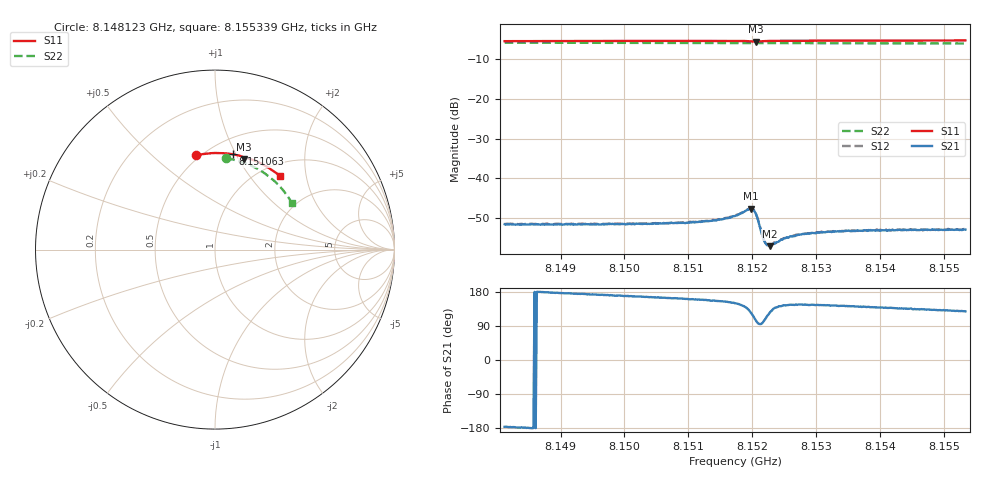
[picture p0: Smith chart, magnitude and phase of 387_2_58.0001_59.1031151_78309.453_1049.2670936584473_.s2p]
#  HZ  S  RI  R  50.00
! Rohde & Schwarz Vector Network Analyzer
! Rohde-Schwarz,ZNB20-2Port,1311601062101988,3.16
! Created: UTC 3/21/2024, 1:07:40 AM
! freq[Hz]  re:S11  im:S11  re:S21  im:S21  re:S12  im:S12  re:S22  im:S22
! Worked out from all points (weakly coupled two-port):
!   401 points, 8.148123 GHz to 8.155339 GHz, reference 50 ohm
!   highest |S21| = -47.65 dB at 8.151983 GHz (marker M1); lowest = -57.1 dB at 8.152272 GHz (marker M2)
!   lowest |S11| = -5.5 dB at 8.152056 GHz (marker M3), VSWR 3.25, Z = 37.7 + j52.7 ohm
!   |S11| at or under -10 dB: nowhere
!   |S22| runs from -6.0 to -5.8 dB; largest |S21 - S12| = 0.00014
!   S11 on the Smith chart (normalised r, x): 8.148123 GHz: 0.48, +0.70; 8.151063 GHz: 0.65, +0.97; 8.155339 GHz: 1.22, +1.43
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8.1481229e9  -0.1034 0.5255  -0.00263 -0.000171  -0.00264 -0.000113  0.062 0.5083
8.1493316e9  -0.0199 0.5373  -0.0026 0.000228  -0.00267 0.000278  0.1386 0.4914
8.1505402e9  0.0641 0.5358  -0.0026 0.000712  -0.0026 0.000759  0.211 0.463
8.1510634e9  0.1006 0.5311  -0.00265 0.000932  -0.00263 0.00098  0.2407 0.4474
8.1514602e9  0.1284 0.5253  -0.00274 0.00123  -0.00274 0.0013  0.2625 0.4344
8.1517308e9  0.1479 0.5194  -0.00289 0.00169  -0.00289 0.00175  0.2767 0.4249
8.1519293e9  0.1621 0.5109  -0.00284 0.00284  -0.00284 0.00292  0.287 0.4173
8.1519834e9  0.1639 0.5066  -0.00232 0.00344  -0.00231 0.00347  0.2897 0.4153
8.1520195e9  0.1635 0.5043  -0.0017 0.00361  -0.00168 0.00368  0.2914 0.4138
8.1520555e9  0.1622 0.5035  -0.000925 0.00348  -0.000873 0.00354  0.2929 0.4125
8.1520916e9  0.1614 0.5049  -0.000352 0.00295  -0.000318 0.00298  0.2949 0.4114
8.1521457e9  0.1635 0.508  -0.00019 0.00203  -0.000192 0.0021  0.2975 0.4094
8.1521818e9  0.1663 0.5093  -0.000361 0.00163  -0.00034 0.00164  0.2994 0.4081
8.1522179e9  0.1691 0.5101  -0.000543 0.00139  -0.00052 0.00139  0.3013 0.4067
8.1522359e9  0.1707 0.5101  -0.000647 0.00129  -0.000621 0.00129  0.3024 0.406
8.152272e9  0.1738 0.5103  -0.00079 0.00115  -0.000803 0.00117  0.3042 0.4046
8.1524704e9  0.1893 0.5073  -0.00134 0.00101  -0.00136 0.00102  0.3139 0.3967
8.1526148e9  0.1995 0.5041  -0.00153 0.00104  -0.00155 0.00108  0.3209 0.3908
8.1529395e9  0.2213 0.4958  -0.00171 0.00114  -0.0017 0.00119  0.3363 0.377
8.1534807e9  0.2558 0.4801  -0.00173 0.00132  -0.00171 0.00135  0.3603 0.3527
8.1541481e9  0.2961 0.4574  -0.00163 0.00149  -0.00163 0.00154  0.3876 0.321
8.1553387e9  0.3624 0.4092  -0.0014 0.00177  -0.00143 0.0018  0.4288 0.2592
